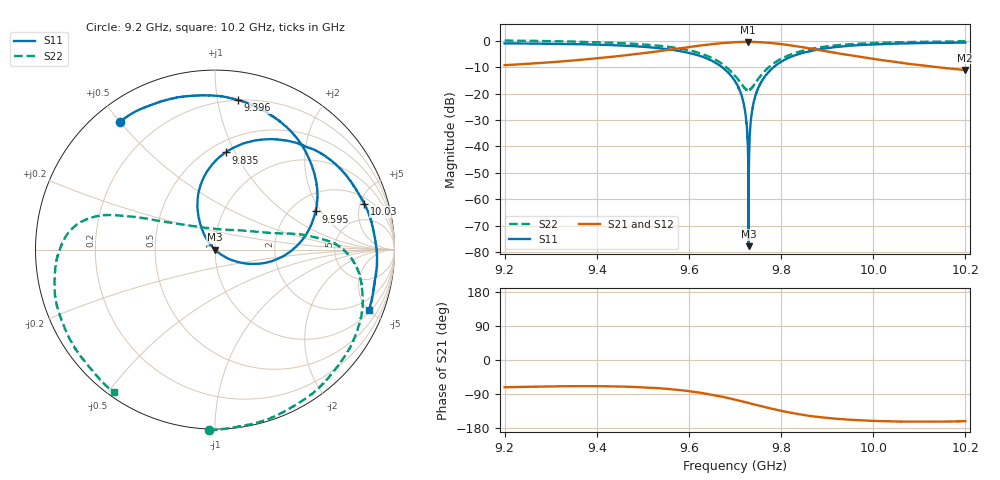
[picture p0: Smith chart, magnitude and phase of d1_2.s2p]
!Agilent Technologies,N5242A,MY51221714,A.09.90.19
!Agilent N5242A: A.09.90.19
!Date: Friday, February 02, 2024 13:08:11
!Correction: S11(Full 2 Port(1,2))
!S21(Full 2 Port(1,2))
!S12(Full 2 Port(1,2))
!S22(Full 2 Port(1,2))
!S2P File: Measurements: S11, S21, S12, S22:
# Hz S  dB  R 50
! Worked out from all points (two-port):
!   16001 points, 9.2 GHz to 10.2 GHz, reference 50 ohm
!   highest |S21| = -0.47 dB at 9.728 GHz (marker M1); lowest = -11.1 dB at 10.2 GHz (marker M2)
!   |S21| within 3 dB of the highest: 9.556 GHz to 9.879 GHz (322.8 MHz wide, 3.32 % of centre); 9.878898 GHz to 9.878984 GHz (86.25 kHz wide, 0.000873 % of centre)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
!   lowest |S11| = -77.7 dB at 9.729 GHz (marker M3), VSWR 1.00, Z = 50 + j0.013 ohm
!   |S11| at or under -10 dB: 9.672 GHz to 9.784 GHz (112.1 MHz wide, 1.15 % of centre)
!   |S22| runs from -18.9 to 0.1 dB; largest |S21 - S12| = 0.021
!   S11 on the Smith chart (normalised r, x): 9.2 GHz: 0.07, +0.50; 9.396 GHz: 0.20, +1.15; 9.595 GHz: 2.69, +1.78; 9.835 GHz: 0.60, +0.92; 10.03 GHz: 2.60, +5.47; 10.2 GHz: 1.14, -5.06
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9.2e9  -1.03 126.7  -9.27 -72.0  -9.24 -73.1  0.06 -91.8
9.366688e9  -1.35 88.4  -7.22 -69.1  -7.20 -70.1  -0.46 -46.4
9.396062e9  -1.49 81.2  -6.74 -69.1  -6.72 -70.2  -0.58 -38.8
9.533375e9  -2.84 42.5  -4.02 -74.3  -3.99 -75.4  -1.91 -8.0
9.594562e9  -4.45 20.8  -2.58 -81.3  -2.56 -82.4  -3.41 2.4
9.659062e9  -8.48 -6.1  -1.16 -93.7  -1.15 -94.7  -7.32 11.9
9.7e9  -15.32 -25.7  -0.60 -104.7  -0.57 -105.7  -13.26 28.3
9.718188e9  -23.20 -36.2  -0.50 -110.0  -0.47 -111.1  -17.38 54.0
9.72825e9  -42.35 -38.5  -0.47 -113.1  -0.45 -114.2  -18.76 83.5
9.729438e9  -77.73 91.9  -0.48 -113.5  -0.46 -114.6  -18.77 87.7
9.73275e9  -33.69 132.7  -0.48 -114.5  -0.46 -115.6  -18.56 98.3
9.736125e9  -27.67 132.5  -0.50 -115.5  -0.46 -116.7  -17.94 108.4
9.740375e9  -23.50 129.0  -0.51 -116.8  -0.48 -118.0  -16.99 118.6
9.756188e9  -15.90 120.4  -0.62 -121.6  -0.59 -122.8  -13.17 140.9
9.788062e9  -9.43 105.4  -1.07 -130.8  -1.06 -132.0  -8.07 154.8
9.834875e9  -5.27 83.7  -2.17 -142.2  -2.16 -143.2  -4.41 161.4
9.866688e9  -3.82 70.4  -3.08 -148.3  -3.07 -149.4  -3.07 165.0
9.940938e9  -2.06 44.2  -5.27 -156.9  -5.27 -158.0  -1.47 176.5
1.003338e10  -1.21 17.4  -7.72 -161.7  -7.70 -162.9  -0.69 -165.0
1.003475e10  -1.21 17.0  -7.75 -161.7  -7.73 -162.9  -0.68 -164.8
1.019956e10  -0.72 -21.2  -11.12 -161.6  -11.12 -162.9  -0.24 -125.4
1.02e10  -0.71 -21.3  -11.11 -161.7  -11.10 -162.8  -0.23 -125.2
